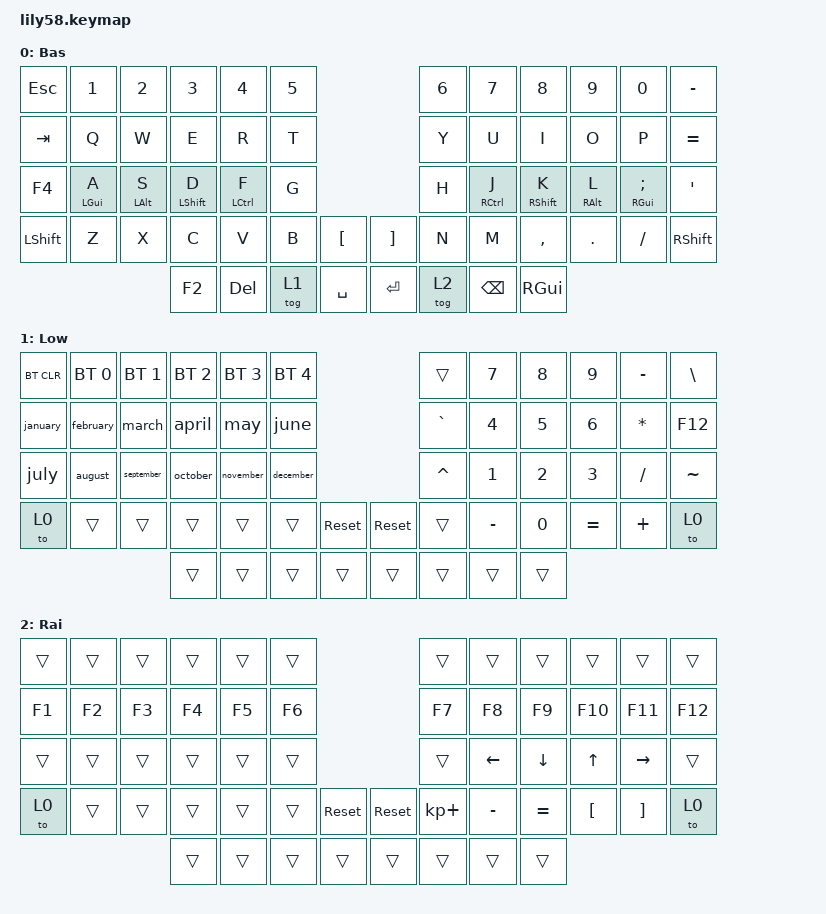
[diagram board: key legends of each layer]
/*
 * Copyright (c) 2020 The ZMK Contributors
 *
 * SPDX-License-Identifier: MIT
 */

#include <behaviors.dtsi>
#include <dt-bindings/zmk/bt.h>
#include <dt-bindings/zmk/keys.h>

&mt {
    flavor = "balanced";
    require-prior-idle-ms = <125>;
};

/ {
    combos {
        compatible = "zmk,combos";

        pipemacro {
            bindings = <&kp PIPE>;
            key-positions = <42 43>;
        };

        resetleft {
            bindings = <&sys_reset>;
            key-positions = <40 41>;
        };

        resetright {
            bindings = <&sys_reset>;
            key-positions = <44 45>;
        };

        bootloaderleft {
            bindings = <&bootloader>;
            key-positions = <16 17>;
        };

        bootloaderright {
            bindings = <&bootloader>;
            key-positions = <18 19>;
        };
    };

    macros {
        january: january {
            compatible = "zmk,behavior-macro";
            #binding-cells = <0>;
            bindings = <&none &kp PIPE &kp SPACE &kp N0 &kp N1 &kp FSLH &kp N0 &kp N1 &kp SPACE &kp LS(R) &kp E &kp N &kp E &kp W &kp A &kp L &kp SPACE &kp PIPE &to 0>;
            label = "JANUARY";
        };

        february: february {
            compatible = "zmk,behavior-macro";
            #binding-cells = <0>;
            bindings = <&none &kp PIPE &kp SPACE &kp N0 &kp N2 &kp FSLH &kp N0 &kp N1 &kp SPACE &kp LS(R) &kp E &kp N &kp E &kp W &kp A &kp L &kp SPACE &kp PIPE &to 0>;
            label = "FEBRUARY";
        };

        march: march {
            compatible = "zmk,behavior-macro";
            #binding-cells = <0>;
            bindings = <&none &kp PIPE &kp SPACE &kp N0 &kp N3 &kp FSLH &kp N0 &kp N1 &kp SPACE &kp LS(R) &kp E &kp N &kp E &kp W &kp A &kp L &kp SPACE &kp PIPE &to 0>;
            label = "MARCH";
        };

        april: april {
            compatible = "zmk,behavior-macro";
            #binding-cells = <0>;
            bindings = <&none &kp PIPE &kp SPACE &kp N0 &kp N4 &kp FSLH &kp N0 &kp N1 &kp SPACE &kp LS(R) &kp E &kp N &kp E &kp W &kp A &kp L &kp SPACE &kp PIPE &to 0>;
            label = "APRIL";
        };

        may: may {
            compatible = "zmk,behavior-macro";
            #binding-cells = <0>;
            bindings = <&none &kp PIPE &kp SPACE &kp N0 &kp N5 &kp FSLH &kp N0 &kp N1 &kp SPACE &kp LS(R) &kp E &kp N &kp E &kp W &kp A &kp L &kp SPACE &kp PIPE &to 0>;
            label = "MAY";
        };

        june: june {
            compatible = "zmk,behavior-macro";
            #binding-cells = <0>;
            bindings = <&none &kp PIPE &kp SPACE &kp N0 &kp N6 &kp FSLH &kp N0 &kp N1 &kp SPACE &kp LS(R) &kp E &kp N &kp E &kp W &kp A &kp L &kp SPACE &kp PIPE &to 0>;
            label = "JUNE";
        };

        july: july {
            compatible = "zmk,behavior-macro";
            #binding-cells = <0>;
            bindings = <&none &kp PIPE &kp SPACE &kp N0 &kp N7 &kp FSLH &kp N0 &kp N1 &kp SPACE &kp LS(R) &kp E &kp N &kp E &kp W &kp A &kp L &kp SPACE &kp PIPE &to 0>;
            label = "JULY";
        };

        august: august {
            compatible = "zmk,behavior-macro";
            #binding-cells = <0>;
            bindings = <&none &kp PIPE &kp SPACE &kp N0 &kp N8 &kp FSLH &kp N0 &kp N1 &kp SPACE &kp LS(R) &kp E &kp N &kp E &kp W &kp A &kp L &kp SPACE &kp PIPE &to 0>;
            label = "AUGUST";
        };

        september: september {
            compatible = "zmk,behavior-macro";
            #binding-cells = <0>;
            bindings = <&none &kp PIPE &kp SPACE &kp N0 &kp N9 &kp FSLH &kp N0 &kp N1 &kp SPACE &kp LS(R) &kp E &kp N &kp E &kp W &kp A &kp L &kp SPACE &kp PIPE &to 0>;
            label = "SEPTEMBER";
        };

        october: october {
            compatible = "zmk,behavior-macro";
            #binding-cells = <0>;
            bindings = <&none &kp PIPE &kp SPACE &kp N1 &kp N0 &kp FSLH &kp N0 &kp N1 &kp SPACE &kp LS(R) &kp E &kp N &kp E &kp W &kp A &kp L &kp SPACE &kp PIPE &to 0>;
            label = "OCTOBER";
        };

        november: november {
            compatible = "zmk,behavior-macro";
            #binding-cells = <0>;
            bindings = <&none &kp PIPE &kp SPACE &kp N1 &kp N1 &kp FSLH &kp N0 &kp N1 &kp SPACE &kp LS(R) &kp E &kp N &kp E &kp W &kp A &kp L &kp SPACE &kp PIPE &to 0>;
            label = "NOVEMBER";
        };

        december: december {
            compatible = "zmk,behavior-macro";
            #binding-cells = <0>;
            bindings = <&none &kp PIPE &kp SPACE &kp N1 &kp N2 &kp FSLH &kp N0 &kp N1 &kp SPACE &kp LS(R) &kp E &kp N &kp E &kp W &kp A &kp L &kp SPACE &kp PIPE &to 0>;
            label = "DECEMBER";
        };
    };

    keymap {
        compatible = "zmk,keymap";

        default_layer {
            // ------------------------------------------------------------------------------------------------------------
            // |  ESC  |  1  |  2  |  3   |  4   |  5   |                   |  6   |  7    |  8    |  9   |   0   |   `   |
            // |  TAB  |  Q  |  W  |  E   |  R   |  T   |                   |  Y   |  U    |  I    |  O   |   P   |   -   |
            // |  CTRL |  A  |  S  |  D   |  F   |  G   |                   |  H   |  J    |  K    |  L   |   ;   |   '   |
            // | SHIFT |  Z  |  X  |  C   |  V   |  B   |   "["  |  |  "]"  |  N   |  M    |  ,    |  .   |   /   | SHIFT |
            //                     | ALT  | GUI  | LOWER|  SPACE |  | ENTER | RAISE| BSPC  | GUI   |

            display-name = "Bas";
            bindings = <
&kp ESC         &kp N1          &kp N2          &kp N3            &kp N4       &kp N5                         &kp N6  &kp N7       &kp N8             &kp N9           &kp N0                   &kp MINUS
&kp TAB         &kp Q           &kp W           &kp E             &kp R        &kp T                          &kp Y   &kp U        &kp I              &kp O            &kp P                    &kp EQUAL
&kp F4          &mt LEFT_GUI A  &mt LEFT_ALT S  &mt LEFT_SHIFT D  &mt LCTRL F  &kp G                          &kp H   &mt RCTRL J  &mt RIGHT_SHIFT K  &mt RIGHT_ALT L  &mt RIGHT_GUI SEMICOLON  &kp SQT
&kp LEFT_SHIFT  &kp Z           &kp X           &kp C             &kp V        &kp B   &kp LBKT     &kp RBKT  &kp N   &kp M        &kp COMMA          &kp DOT          &kp FSLH                 &kp RIGHT_SHIFT
                                                &kp F2            &kp DELETE   &tog 1  &kp SPACE    &kp RET   &tog 2  &kp BSPC     &kp RGUI
            >;
        };

        lower_layer {
            // ------------------------------------------------------------------------------------------------------------
            // | BTCLR | BT1 | BT2 |  BT3 |  BT4 |  BT5 |                   |      |       |       |      |       |       |
            // |  F1   |  F2 |  F3 |  F4  |  F5  |  F6  |                   |  F7  |  F8   |  F9   |  F10 |  F11  |  F12  |
            // |   `   |  !  |  @  |  #   |  $   |  %   |                   |  ^   |  &    |  *    |  (   |   )   |   ~   |
            // |       |     |     |      |      |      |        |  |       |      |  _    |  +    |  {   |   }   |  "|"  |
            //                     |      |      |      |        |  |       |      |       |       |

            display-name = "Low";
            bindings = <
&bt BT_CLR  &bt BT_SEL 0  &bt BT_SEL 1  &bt BT_SEL 2  &bt BT_SEL 3  &bt BT_SEL 4                            &trans     &kp NUMBER_7  &kp NUMBER_8  &kp NUMBER_9  &kp MINUS     &kp BACKSLASH
&january    &february     &march        &april        &may          &june                                   &kp GRAVE  &kp NUMBER_4  &kp N5        &kp NUMBER_6  &kp ASTERISK  &kp F12
&july       &august       &september    &october      &november     &december                               &kp CARET  &kp NUMBER_1  &kp NUMBER_2  &kp NUMBER_3  &kp SLASH     &kp TILDE
&to 0       &trans        &trans        &trans        &trans        &trans        &sys_reset    &sys_reset  &trans     &kp MINUS     &kp NUMBER_0  &kp EQUAL     &kp PLUS      &to 0
                                        &trans        &trans        &trans        &trans        &trans      &trans     &trans        &trans
            >;
        };

        raise_layer {
            // ------------------------------------------------------------------------------------------------------------
            // |       |     |     |      |      |      |                   |      |       |       |      |       |       |
            // |   `   |  1  |  2  |  3   |  4   |  5   |                   |  6   |   7   |   8   |  9   |   0   |       |
            // |   F1  |  F2 |  F3 |  F4  |  F5  |  F6  |                   |      |   <-  |   v   |  ^   |  ->   |       |
            // |   F7  |  F8 |  F9 |  F10 |  F11 |  F12 |        |  |       |  +   |   -   |   =   |  [   |   ]   |   \   |
            //                     |      |      |      |        |  |       |      |       |       |

            display-name = "Rai";
            bindings = <
&trans  &trans  &trans  &trans  &trans  &trans                            &trans       &trans     &trans     &trans    &trans     &trans
&kp F1  &kp F2  &kp F3  &kp F4  &kp F5  &kp F6                            &kp F7       &kp F8     &kp F9     &kp F10   &kp F11    &kp F12
&trans  &trans  &trans  &trans  &trans  &trans                            &trans       &kp LEFT   &kp DOWN   &kp UP    &kp RIGHT  &trans
&to 0   &trans  &trans  &trans  &trans  &trans  &sys_reset    &sys_reset  &kp KP_PLUS  &kp MINUS  &kp EQUAL  &kp LBKT  &kp RBKT   &to 0
                        &trans  &trans  &trans  &trans        &trans      &trans       &trans     &trans
            >;
        };

        extra_1 { status = "reserved"; };

        extra_2 { status = "reserved"; };

        extra_3 { status = "reserved"; };
    };
};
